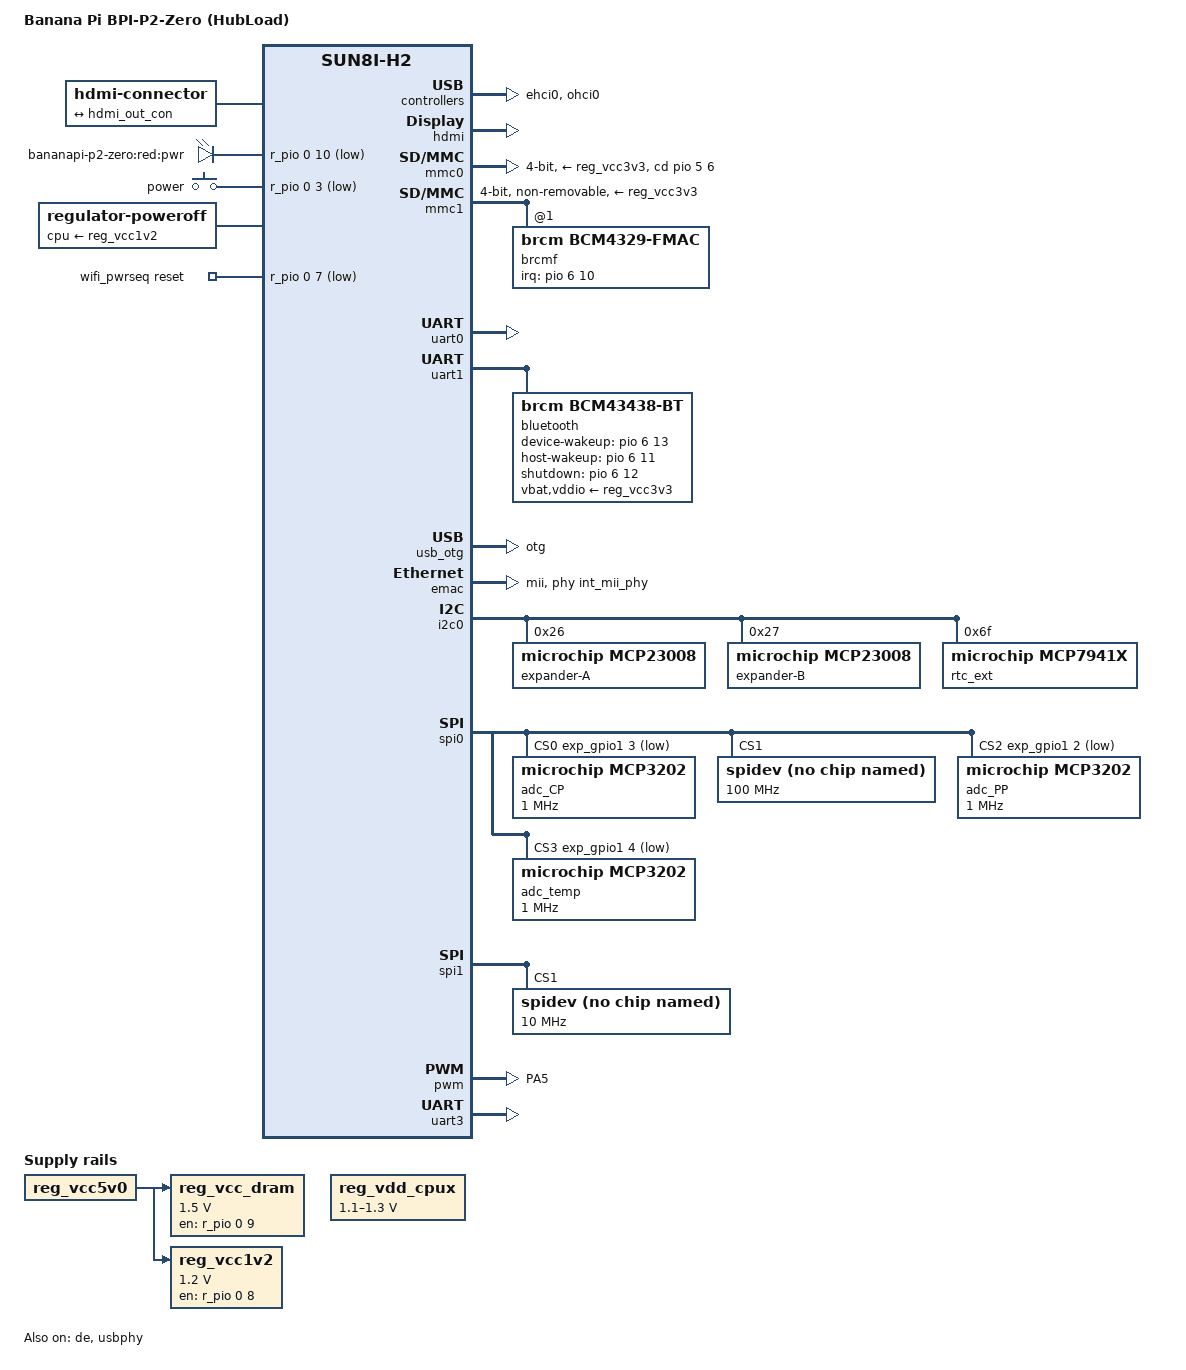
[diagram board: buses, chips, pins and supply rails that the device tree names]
// SPDX-License-Identifier: (GPL-2.0+ OR MIT)
/*
 * Copyright (C) 2024 Hamza RAHAL <hamza.rahal@gmx.fr>
 *
 * Based on sun8i-h2-plus-m2-zero.dts, which is:
 *   Copyright (C) 2017 Icenowy Zheng <icenowy@aosc.io>
 */

/dts-v1/;
#include "sun8i-h3.dtsi"
#include "sunxi-common-regulators.dtsi"

#include <dt-bindings/gpio/gpio.h>
#include <dt-bindings/input/input.h>

/ {
	model = "Banana Pi BPI-P2-Zero (HubLoad)";
	compatible = "sinovoip,bpi-m2-zero", "allwinner,sun8i-h2-plus";

	aliases {
		serial0 = &uart0;
		serial1 = &uart1;
		serial2 = &uart2;
		ethernet0 = &emac;
		i2c3 = &r_i2c;
	};

	chosen {
		stdout-path = "serial2:115200n8";
		bootargs = "rootwait root=LABEL='root' rw early-printk";
	};

	connector {
		compatible = "hdmi-connector";
		type = "c";

		port {
			hdmi_con_in: endpoint {
				remote-endpoint = <&hdmi_out_con>;
			};
		};
	};

	leds {
		compatible = "gpio-leds";

		pwr_led {
			label = "bananapi-p2-zero:red:pwr";
			gpios = <&r_pio 0 10 GPIO_ACTIVE_LOW>; /* PL10 */
			default-state = "on";
		};
	};

	gpio-keys {
		compatible = "gpio-keys";

		switch-4 {
			label = "power";
			linux,code = <KEY_POWER>;
			gpios = <&r_pio 0 3 GPIO_ACTIVE_LOW>;
			wakeup-source;
		};
	};

	reg_vdd_cpux: vdd-cpux-regulator {
		compatible = "regulator-gpio";
		regulator-name = "vdd-cpux";
		regulator-type = "voltage";
		regulator-boot-on;
		regulator-always-on;
		regulator-min-microvolt = <1100000>;
		regulator-max-microvolt = <1300000>;
		regulator-ramp-delay = <50>; /* 4ms */

		gpios = <&r_pio 0 1 GPIO_ACTIVE_HIGH>; /* PL1 */
		enable-active-high;
		gpios-states = <0x1>;
		states = <1100000 0>, <1300000 1>;
	};

	reg_vcc_dram: vcc-dram {
		compatible = "regulator-fixed";
		regulator-name = "vcc-dram";
		regulator-min-microvolt = <1500000>;
		regulator-max-microvolt = <1500000>;
		regulator-always-on;
		regulator-boot-on;
		enable-active-high;
		gpio = <&r_pio 0 9 GPIO_ACTIVE_HIGH>; /* PL9 */
		vin-supply = <&reg_vcc5v0>;
	};

	reg_vcc1v2: vcc1v2 {
		compatible = "regulator-fixed";
		regulator-name = "vcc1v2";
		regulator-min-microvolt = <1200000>;
		regulator-max-microvolt = <1200000>;
		regulator-always-on;
		regulator-boot-on;
		enable-active-high;
		gpio = <&r_pio 0 8 GPIO_ACTIVE_HIGH>; /* PL8 */
		vin-supply = <&reg_vcc5v0>;
	};

	poweroff {
		compatible = "regulator-poweroff";
		cpu-supply = <&reg_vcc1v2>;
	};

	wifi_pwrseq: wifi_pwrseq {
		compatible = "mmc-pwrseq-simple";
		reset-gpios = <&r_pio 0 7 GPIO_ACTIVE_LOW>; /* PL7 */
		clocks = <&rtc CLK_OSC32K_FANOUT>;
		clock-names = "ext_clock";
	};
};

&cpu0 {
	cpu-supply = <&reg_vdd_cpux>;
};

&de {
	status = "okay";
};

&ehci0 {
	status = "okay";
};

&hdmi {
	status = "okay";
};

&hdmi_out {
	hdmi_out_con: endpoint {
		remote-endpoint = <&hdmi_con_in>;
	};
};

&mmc0 {
	vmmc-supply = <&reg_vcc3v3>;
	bus-width = <4>;
	/*
	 * On the production batch of this board the card detect GPIO is
	 * high active (card inserted), although on the early samples it's
	 * low active.
	 */
	cd-gpios = <&pio 5 6 GPIO_ACTIVE_HIGH>; /* PF6 */
	status = "okay";
};

&mmc1 {
	vmmc-supply = <&reg_vcc3v3>;
	vqmmc-supply = <&reg_vcc3v3>;
	mmc-pwrseq = <&wifi_pwrseq>;
	bus-width = <4>;
	non-removable;
	status = "okay";

	brcmf: wifi@1 {
		reg = <1>;
		compatible = "brcm,bcm4329-fmac";
		interrupt-parent = <&pio>;
		interrupts = <6 10 IRQ_TYPE_LEVEL_LOW>; /* PG10 / EINT10 */
		interrupt-names = "host-wake";
	};
};

&ohci0 {
	status = "okay";
};

&uart0 {
	pinctrl-names = "default";
	pinctrl-0 = <&uart0_pa_pins>;
	status = "okay";
};

&uart1 {
	pinctrl-names = "default";
	pinctrl-0 = <&uart1_pins>, <&uart1_rts_cts_pins>;
	uart-has-rtscts;
	status = "okay";

	bluetooth {
		compatible = "brcm,bcm43438-bt";
		max-speed = <1500000>;
		clocks = <&rtc CLK_OSC32K_FANOUT>;
		clock-names = "lpo";
		vbat-supply = <&reg_vcc3v3>;
		vddio-supply = <&reg_vcc3v3>;
		device-wakeup-gpios = <&pio 6 13 GPIO_ACTIVE_HIGH>; /* PG13 */
		host-wakeup-gpios = <&pio 6 11 GPIO_ACTIVE_HIGH>; /* PG11 */
		shutdown-gpios = <&pio 6 12 GPIO_ACTIVE_HIGH>; /* PG12 */
	};

};

&pio {
	gpio-line-names =
		/* PA */
		"CON2-P13", "CON2-P11", "IRQ0", "USER_KEY",
			"CON3-P03", "CON3-P02", "CON2-P07", "LOCK_P",
		"PP_IN", "CON2-P33", "WD_TRIP", "I2C0_CLK",
			"I2C0_SDA", "CON2-P08", "CON2-P10", "RCD_TRIP_AC",
		"RCD_TRIP_DC", "CF4", "CON2-P28", "CON2-P27",
			"LED_STRIP", "CON2-P38", "", "",
		"", "", "", "", "", "", "", "",

		/* PB */
		"", "", "", "", "", "", "", "",
		"", "", "", "", "", "", "", "",
		"", "", "", "", "", "", "", "",
		"", "", "", "", "", "", "", "",

		/* PC */
		"SPI0_MOSI", "SPI0_MISO", "SPI0_CLK", "CON2-P24",
			"IRQ1", "", "", "CON2-P26",
		"", "", "", "", "", "", "", "",
		"", "", "", "", "", "", "", "",
		"", "", "", "", "", "", "", "",

		/* PD */
		"", "", "", "", "", "", "", "",
		"", "", "", "", "", "", "CSI-PWR-EN", "",
		"", "", "", "", "", "", "", "",
		"", "", "", "", "", "", "", "",

		/* PE */
		"CN3-P17", "CN3-P13", "CN3-P09", "CN3-P07",
			"CN3-P19", "CN3-P21", "CN3-P22", "CN3-P20",
		"CN3-P18", "CN3-P16", "CN3-P14", "CN3-P12",
			"CN3-P05", "CN3-P03", "CN3-P06", "CN3-P08",
		"", "", "", "", "", "", "", "",
		"", "", "", "", "", "", "", "",

		/* PF */
		"SDC0-D1", "SDC0-D0", "SDC0-CLK", "SDC0-CMD", "SDC0-D3",
			"SDC0-D2", "SDC0-DET", "",
		"", "", "", "", "", "", "", "",
		"", "", "", "", "", "", "", "",
		"", "", "", "", "", "", "", "",

		/* PG */
		"WL-SDIO-CLK", "WL-SDIO-CMD", "WL-SDIO-D0", "WL-SDIO-D1",
			"WL-SDIO-D2", "WL-SDIO-D3", "BT-UART-TX", "BT-UART-RX",
		"BT-UART-RTS", "BT-UART-CTS", "WL-WAKE-AP", "BT-WAKE-AP",
			"BT-RST-N", "AP-WAKE-BT", "", "",
		"", "", "", "", "", "", "", "",
		"", "", "", "", "", "", "", "";
/* pour activer le pwm il faut couper l'uart0 */
	uart0 {
		status = "disabled";
		//pins = "PA5";
		//function = "uart0";
	};

	pwm0_pin: pwm0-pin {
        pins = "PA5";
		function = "pwm0";
	};
};

&r_pio {
	gpio-line-names =
		/* PL */
		"", "CPUX-SET", "CON2-P32", "POWER-KEY", "CON2-P36",
			"VCC-IO-EN", "USB0-ID", "WL-PWR-EN",
		"PWR-STB", "PWR-DRAM", "PWR-LED", "IR-RX", "", "", "", "",
		"", "", "", "", "", "", "", "",
		"", "", "", "", "", "", "", "";
};

&usb_otg {
	dr_mode = "otg";
	status = "okay";
};

&usbphy {
	usb0_id_det-gpios = <&r_pio 0 6 GPIO_ACTIVE_HIGH>; /* PL6 */
	/*
	 * There're two micro-USB connectors, one is power-only and another is
	 * OTG. The Vbus of these two connectors are connected together, so
	 * the external USB device will be powered just by the power input
	 * from the power-only USB port.
	 */
	status = "okay";
};

&emac {
	phy-handle = <&int_mii_phy>;
	phy-mode = "mii";
	allwinner,leds-active-low;
	status = "okay";
};

/* PA11 PA12 */
&i2c0 {

	#address-cells = <1>;
	#size-cells = <0>;

	status = "okay";

	exp_gpio0: mcp23008@26 {

		status = "okay";

		compatible = "microchip,mcp23008";
		label="expander-A";
		reg = <0x26>;
		gpio-controller;
		#gpio-cells = <2>;
		gpio-line-names =	"TYPE-2_NL1_ON",
							"TYPE-2_L2L3_ON",
							"TYPE-E/F_ON",
							"LOCK_D",
							"RCD_DIS",
							"RCD_TST",
							"RCD_RESET",
							"UNUSED";

		unused_gpio {
			gpio-hog;
			gpios = <7 0>;
			input;
		};

	};

	exp_gpio1: expander-B@27 {

		status="okay";

		compatible = "microchip,mcp23008";
		label = "expander-B";
		reg = <0x27>;
		gpio-controller;
		#gpio-cells = <2>;

		gpio-line-names =	"LED_DIS",
							"CP_DIS",
							"PP_CS",
							"CP_CS",
							"T_CS",
							"PM_CS",
							"PM1",
							"PM0";

	};

	rtc_ext: rtc_eeprom@6f {

		satus = "okay";
		compatible = "microchip,mcp7941x";

		reg = <0x6F>;

	};

};

/* PA18 PA19 */
&i2c1 {
	status = "disabled";
};

&spi0 {
	#address-cells = <1>;
	#size-cells = <0>;

	status = "okay";
	cs-gpios = <&exp_gpio1 3 GPIO_ACTIVE_LOW>, <0>, <&exp_gpio1 2 GPIO_ACTIVE_LOW>, <&exp_gpio1 4 GPIO_ACTIVE_LOW>;

	adc_CP@0 {
		status = "okay";
		compatible = "microchip,mcp3202";
		reg = <0>;
		spi-max-frequency = <1000000>;
	};

	spidev@1{
		status = "okay";
		compatible = "rohm,dh2228fv";
		reg = <1>; /* choosed chip select 1 bc : PC3 = CS0 (reg 0)*/
		spi-max-frequency = <100000000>;
	};

	adc_PP@2 {
		status = "okay";
		compatible = "microchip,mcp3202";
		reg = <2>;
		spi-max-frequency = <1000000>;
	};

	adc_temp@3 {
		status = "okay";
		compatible = "microchip,mcp3202";
		reg = <3>;
		spi-max-frequency = <1000000>;
	};
};

&spi1 { // a utiliser pour les leds ?
	//pinctrl-names = "default";
	//pinctrl-0 = <&spi1_pins>; // a changer seluement si on veut utiliser les autres pins
	#address-cells = <1>;
	#size-cells = <0>;

	status = "okay";

	spidev@1{ // leds
		status = "okay";
		compatible = "rohm,dh2228fv";
		reg = <1>; /* choosed chip select 1 bc : PA13 =CS0 (reg 0)*/
		spi-max-frequency = <10000000>;
	};
};

/* PE12 PE13 */
&i2c2 {
	status = "disabled";
};

/* PL0 PL1 */
&r_i2c { /* r_i2c */
	status = "disabled";
};

&pwm { //0xC21400
	pinctrl-names = "default";
	pinctrl-0 = <&pwm0_pin>;
	status = "okay";
};

// PA5=PWM0/UART0_RX PA6=PWM1 PL10=S_PWM=LED_PWR
&uart3{
	pinctrl-names = "default";
	pinctrl-0 = <&uart2_pins>;
	status = "okay";
};
